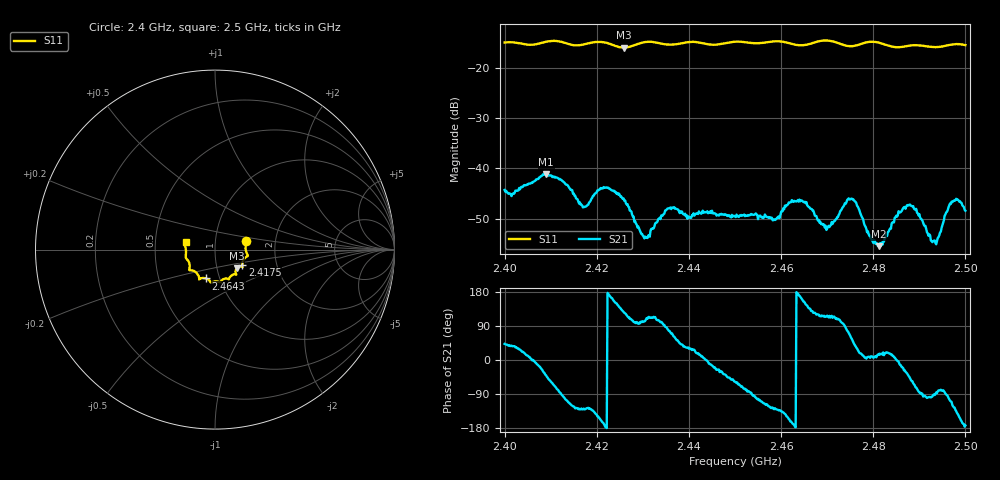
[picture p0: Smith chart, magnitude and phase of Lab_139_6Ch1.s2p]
# Hz S RI R 50
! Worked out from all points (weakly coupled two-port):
!   601 points, 2.4 GHz to 2.5 GHz, reference 50 ohm
!   highest |S21| = -41.13 dB at 2.409 GHz (marker M1); lowest = -55.5 dB at 2.4812 GHz (marker M2)
!   lowest |S11| = -15.9 dB at 2.4258 GHz (marker M3), VSWR 1.38, Z = 62.3 - j13.2 ohm
!   |S11| at or under -10 dB: start of sweep to end of sweep
!   S12 and S22 are empty: the file has one direction only
!   S11 on the Smith chart (normalised r, x): 2.4 GHz: 1.41, +0.14; 2.4175 GHz: 1.34, -0.23; 2.4643 GHz: 0.86, -0.29; 2.5 GHz: 0.72, +0.06
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2.4e9  0.1728 0.0487  0.00449 0.00413  0 0  0 0
2.409e9  0.1809 -0.0283  0.00668 -0.00569  0 0  0 0
2.4125e9  0.1775 -0.0388  -0.000451 -0.00749  0 0  0 0
2.416667e9  0.1529 -0.0741  -0.00268 -0.00343  0 0  0 0
2.4175e9  0.1518 -0.0835  -0.00266 -0.00319  0 0  0 0
2.421333e9  0.1537 -0.0963  -0.00611 -0.00161  0 0  0 0
2.425833e9  0.1218 -0.1033  -0.00299 0.00402  0 0  0 0
2.4305e9  0.1182 -0.1376  -0.000469 0.00204  0 0  0 0
2.433333e9  0.1131 -0.1372  -0.000833 0.00301  0 0  0 0
2.436333e9  0.092 -0.1443  0.00138 0.00382  0 0  0 0
2.45e9  0.0289 -0.1808  0.00179 -0.00279  0 0  0 0
2.458667e9  -0.0214 -0.1834  -0.00185 -0.00244  0 0  0 0
2.464333e9  -0.0498 -0.1609  -0.00461 0.00129  0 0  0 0
2.466667e9  -0.0758 -0.1593  -0.00249 0.00304  0 0  0 0
2.47e9  -0.0882 -0.1661  -0.00114 0.00224  0 0  0 0
2.475667e9  -0.1127 -0.1217  0.00339 0.00358  0 0  0 0
2.481167e9  -0.1431 -0.1082  0.00163 0.000388  0 0  0 0
2.483333e9  -0.1407 -0.09  0.00222 0.00074  0 0  0 0
2.488167e9  -0.1607 -0.0491  0.00258 -0.00338  0 0  0 0
2.493333e9  -0.1612 -0.0104  -8.49e-05 -0.00191  0 0  0 0
2.497e9  -0.1693 0.027  -0.00162 -0.00438  0 0  0 0
2.5e9  -0.1636 0.0429  -0.00376 -0.000477  0 0  0 0
